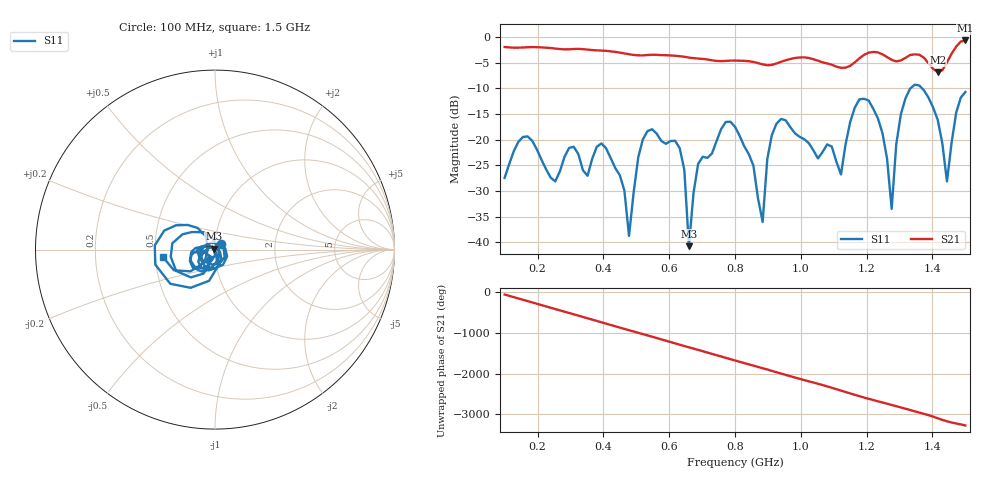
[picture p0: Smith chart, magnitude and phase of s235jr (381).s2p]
! NanoVNA-App
! Date: 2025-09-25 15:07:08
! Start: 100MHz Stop: 1,5GHz Points: 101
! S-Parameter data: F S11 S21 S12 S22
# Hz S RI R 50
!  Frequency  S11_Real  S11_Imag  S21_Real  S21_Imag  S12_Real  S12_Imag  S22_Real  S22_Imag
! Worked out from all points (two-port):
!   101 points, 100 MHz to 1.5 GHz, reference 50 ohm
!   highest |S21| = -0.68 dB at 1.5 GHz (marker M1); lowest = -6.9 dB at 1.416 GHz (marker M2)
!   |S21| within 3 dB of the highest: start of sweep to 621.1 MHz; 1.188 GHz to 1.256 GHz (67.7 MHz wide, 5.54 % of centre) (the widest 2 of 4)
!   lowest |S11| = -40.8 dB at 660 MHz (marker M3), VSWR 1.02, Z = 49.3 + j0.569 ohm
!   |S11| at or under -10 dB: start of sweep to 1.333 GHz; 1.368 GHz to end of sweep
!   S12 and S22 are empty: the file has one direction only
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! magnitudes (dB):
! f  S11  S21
! 100 MHz  -27.5  -2.0
! 170 MHz  -19.4  -2.0
! 338 MHz  -26.0  -2.4
! 408 MHz  -21.7  -2.7
! 478 MHz  -38.8  -3.4
! 520 MHz  -20.0  -3.6
! 576 MHz  -20.3  -3.5
! 632 MHz  -21.7  -3.8
! 660 MHz  -40.8  -4.0
! 688 MHz  -24.7  -4.2
! 800 MHz  -17.5  -4.6
! 884 MHz  -36.1  -5.3
! 926 MHz  -16.9  -5.2
! 1.038 GHz  -22.1  -4.3
! 1.122 GHz  -26.8  -6.0
! 1.206 GHz  -12.4  -3.1
! 1.276 GHz  -33.5  -4.5
! 1.29 GHz  -20.9  -4.8
! 1.332 GHz  -10.1  -3.5
! 1.416 GHz  -16.2  -6.9
! 1.444 GHz  -28.2  -4.9
! 1.5 GHz  -10.7  -0.7
